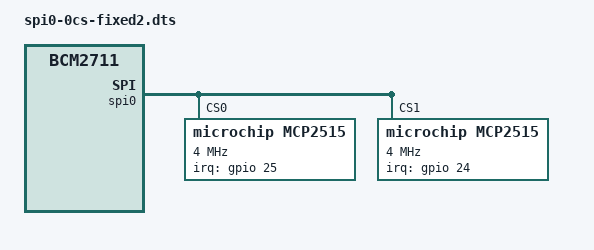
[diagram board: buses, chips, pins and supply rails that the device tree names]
/dts-v1/;
/plugin/;

/ {
    compatible = "brcm,bcm2711";

    fragment@0 {
        target = <&spi0>;
        __overlay__ {
            #address-cells = <1>;
            #size-cells = <0>;
            cs-gpios = <&gpio 8 1>, <&gpio 7 1>;  // GPIO 8 for CS0, GPIO 7 for CS1.
            status = "okay";

            /* Lower SPI clock for reliability */
            spi-max-frequency = <4000000>;

            /* First MCP2515 CAN controller */
            mcp2515@0 {
                compatible = "microchip,mcp2515";
                reg = <0>;  // Chipselect 0.
                spi-max-frequency = <4000000>;  // 4 MHz for better reliability
                interrupt-parent = <&gpio>;
                interrupts = <25 0x01>; // GPIO 25, IRQ_TYPE_EDGE_RISING
                oscillator-frequency = <16000000>;
                status = "okay";
            };

            /* Second MCP2515 CAN controller */
            mcp2515@1 {
                compatible = "microchip,mcp2515";
                reg = <1>;  // Chipselect 1.
                spi-max-frequency = <4000000>;  // 4 MHz for better reliability
                interrupt-parent = <&gpio>;
                interrupts = <24 0x01>; // GPIO 24, IRQ_TYPE_EDGE_RISING
                oscillator-frequency = <16000000>;
                status = "okay";
            };
        };
    };

    fragment@1 {
        target = <&spi0>;
        __overlay__ {
            /* Set SPI to automatically remove CS */
            cs-gpios = <0>, <0>;
        };
    };

    fragment@2 {
        target = <&spidev0>;
        __overlay__ {
            status = "disabled";
        };
    };

    fragment@3 {
        target = <&spidev1>;
        __overlay__ {
            status = "disabled";
        };
    };
};
